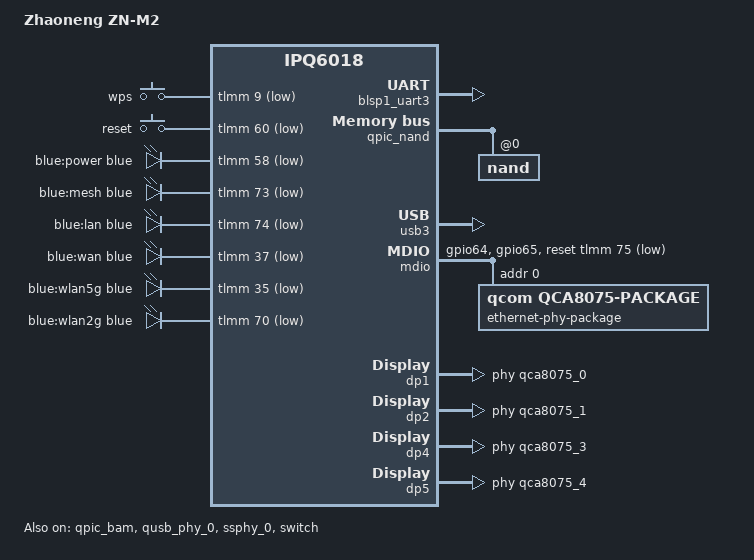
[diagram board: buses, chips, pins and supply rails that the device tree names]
// SPDX-License-Identifier: GPL-2.0-or-later OR MIT

/dts-v1/;

#include "ipq6018-512m.dtsi"
#include "ipq6018-ess.dtsi"
#include "ipq6018-cp-cpu.dtsi"

#include <dt-bindings/gpio/gpio.h>
#include <dt-bindings/input/input.h>
#include <dt-bindings/leds/common.h>

/ {
	model = "Zhaoneng ZN-M2";
	compatible = "zn,m2", "qcom,ipq6018";

	aliases {
		serial0 = &blsp1_uart3;
		led-boot = &led_power;
		led-failsafe = &led_power;
		led-running = &led_power;
		led-upgrade = &led_power;
	};

	chosen {
		stdout-path = "serial0:115200n8";
		bootargs-append = " root=/dev/ubiblock0_1";
	};

	keys {
		compatible = "gpio-keys";

		wps {
			label = "wps";
			linux,code = <KEY_WPS_BUTTON>;
			gpios = <&tlmm 9 GPIO_ACTIVE_LOW>;
		};

		reset {
			label = "reset";
			linux,code = <KEY_RESTART>;
			gpios = <&tlmm 60 GPIO_ACTIVE_LOW>;
		};
	};

	leds {
		compatible = "gpio-leds";

		led_power: blue-power {
			label = "blue:power";
			color = <LED_COLOR_ID_BLUE>;
			function = LED_FUNCTION_POWER;
			gpios = <&tlmm 58 GPIO_ACTIVE_LOW>;
		};

		blue-mesh {
			label = "blue:mesh";
			color = <LED_COLOR_ID_BLUE>;
			function = LED_FUNCTION_STATUS;
			gpios = <&tlmm 73 GPIO_ACTIVE_LOW>;
		};

		blue-lan {
			label = "blue:lan";
			color = <LED_COLOR_ID_BLUE>;
			function = LED_FUNCTION_LAN;
			gpios = <&tlmm 74 GPIO_ACTIVE_LOW>;
		};

		blue-wan {
			label = "blue:wan";
			color = <LED_COLOR_ID_BLUE>;
			function = LED_FUNCTION_WAN;
			gpios = <&tlmm 37 GPIO_ACTIVE_LOW>;
		};

		blue-wlan5g {
			label = "blue:wlan5g";
			color = <LED_COLOR_ID_BLUE>;
			function = LED_FUNCTION_WLAN;
			gpios = <&tlmm 35 GPIO_ACTIVE_LOW>;
		};

		blue-wlan2g {
			label = "blue:wlan2g";
			color = <LED_COLOR_ID_BLUE>;
			function = LED_FUNCTION_WLAN;
			gpios = <&tlmm 70 GPIO_ACTIVE_LOW>;
		};
	};
};

&tlmm {
	mdio_pins: mdio-pins {
		mdc {
			pins = "gpio64";
			function = "mdc";
			drive-strength = <8>;
			bias-pull-up;
		};

		mdio {
			pins = "gpio65";
			function = "mdio";
			drive-strength = <8>;
			bias-pull-up;
		};
	};
};

&blsp1_uart3 {
	pinctrl-0 = <&serial_3_pins>;
	pinctrl-names = "default";
	status = "okay";
};

&qpic_bam {
	status = "okay";
};

&qpic_nand {
	status = "okay";

	nand@0 {
		reg = <0>;
		nand-ecc-strength = <4>;
		nand-ecc-step-size = <512>;
		nand-bus-width = <8>;

		partitions {
			compatible = "qcom,smem-part";
		};
	};
};

&qusb_phy_0 {
	status = "okay";
};

&ssphy_0 {
	status = "okay";
};

&usb3 {
	status = "okay";
};

&mdio {
	status = "okay";

	pinctrl-0 = <&mdio_pins>;
	pinctrl-names = "default";
	reset-gpios = <&tlmm 75 GPIO_ACTIVE_LOW>;

	ethernet-phy-package@0 {
		compatible = "qcom,qca8075-package";
		#address-cells = <1>;
		#size-cells = <0>;
		reg = <0>;

		qca8075_0: ethernet-phy@0 {
			compatible = "ethernet-phy-ieee802.3-c22";
			reg = <0>;
		};

		qca8075_1: ethernet-phy@1 {
			compatible = "ethernet-phy-ieee802.3-c22";
			reg = <1>;
		};

		qca8075_3: ethernet-phy@3 {
			compatible = "ethernet-phy-ieee802.3-c22";
			reg = <3>;
		};

		qca8075_4: ethernet-phy@4 {
			compatible = "ethernet-phy-ieee802.3-c22";
			reg = <4>;
		};
	};
};

&switch {
	status = "okay";

	switch_lan_bmp = <(ESS_PORT1 | ESS_PORT2 | ESS_PORT4)>;
	switch_wan_bmp = <ESS_PORT5>;
	switch_mac_mode = <MAC_MODE_PSGMII>;

	qcom,port_phyinfo {
		port@1 {
			port_id = <1>;
			phy_address = <0>;
		};
		port@2 {
			port_id = <2>;
			phy_address = <1>;
		};
		port@4 {
			port_id = <4>;
			phy_address = <3>;
		};
		port@5 {
			port_id = <5>;
			phy_address = <4>;
		};
	};
};

&edma {
	status = "okay";
};

&dp1 {
	status = "okay";
	phy-handle = <&qca8075_0>;
	label = "lan1";
};

&dp2 {
	status = "okay";
	phy-handle = <&qca8075_1>;
	label = "lan2";
};

/* 兆能 M2 无 ESS port3/phy2 的 RJ45 口 */
&dp3 {
	status = "disabled";
};

&dp4 {
	status = "okay";
	phy-handle = <&qca8075_3>;
	label = "lan3";
};

&dp5 {
	status = "okay";
	phy-handle = <&qca8075_4>;
	label = "wan";
};

/* nowifi: 兆能 M2 无线不启用，避免依赖 ath11k 驱动/固件 */
&wifi {
	status = "disabled";
};
